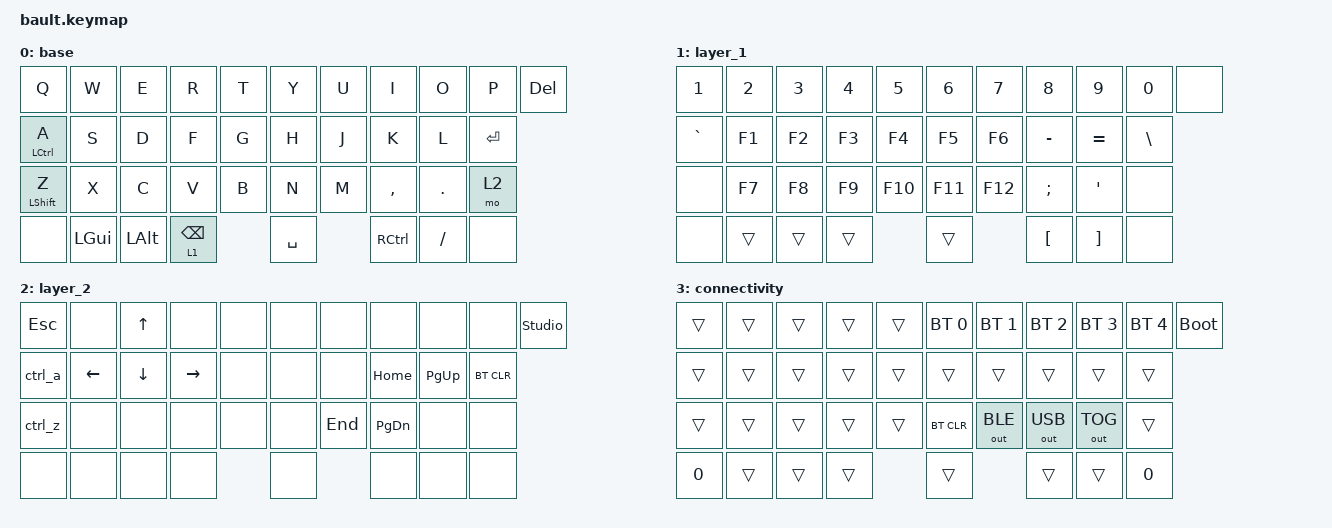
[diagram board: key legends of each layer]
#include <behaviors.dtsi>
#include <dt-bindings/zmk/bt.h>
#include <dt-bindings/zmk/keys.h>
#include <dt-bindings/zmk/outputs.h>

/ {
    behaviors {
        hm: homerow_mods {
            compatible = "zmk,behavior-hold-tap";
            display-name = "Homerow Mods";
            bindings = <&kp>, <&kp>;

            #binding-cells = <2>;
            tapping-term-ms = <200>;
            quick-tap-ms = <180>;
            require-prior-idle-ms = <0>;
            flavor = "tap-preferred";
        };
    };

    combos {
        compatible = "zmk,combos";

        combo_tab {
            timeout-ms = <50>;
            key-positions = <0 1>;
            bindings = <&kp TAB>;
        };
    };

    macros {
        ctrl_a: Ctrl_A {
            compatible = "zmk,behavior-macro";
            #binding-cells = <0>;
            bindings =
                <&macro_press>,
                <&kp RCTRL>,
                <&macro_tap>,
                <&kp A>,
                <&macro_release>,
                <&kp RIGHT_CONTROL>;

            label = "CTRL_A";
        };

        ctrl_z: ctrl_z {
            compatible = "zmk,behavior-macro";
            #binding-cells = <0>;
            bindings =
                <&macro_press>,
                <&kp RIGHT_SHIFT>,
                <&macro_tap>,
                <&kp Z>,
                <&macro_release>,
                <&kp RIGHT_SHIFT>;

            label = "CTRL_Z";
        };
    };

    keymap {
        compatible = "zmk,keymap";

        base {
            bindings = <
&kp Q               &kp W         &kp E         &kp R            &kp T  &kp Y      &kp U  &kp I      &kp O       &kp P      &kp DEL
&hm LEFT_CONTROL A  &kp S         &kp D         &kp F            &kp G  &kp H      &kp J  &kp K      &kp L       &kp ENTER
&hm LEFT_SHIFT Z    &kp X         &kp C         &kp V            &kp B  &kp N      &kp M  &kp COMMA  &kp PERIOD  &mo 2
&none               &kp LEFT_GUI  &kp LEFT_ALT  &lt 1 BACKSPACE         &kp SPACE         &kp RCTRL  &kp SLASH   &none
            >;
        };

        layer_1 {
            bindings = <
&kp N1     &kp N2  &kp N3  &kp N4  &kp N5   &kp N6   &kp N7   &kp N8            &kp N9             &kp N0    &none
&kp GRAVE  &kp F1  &kp F2  &kp F3  &kp F4   &kp F5   &kp F6   &kp MINUS         &kp EQUAL          &kp BSLH
&none      &kp F7  &kp F8  &kp F9  &kp F10  &kp F11  &kp F12  &kp SEMICOLON     &kp SQT            &none
&none      &trans  &trans  &trans           &trans            &kp LEFT_BRACKET  &kp RIGHT_BRACKET  &none
            >;
        };

        layer_2 {
            bindings = <
&kp ESCAPE  &none     &kp UP    &none      &none  &none  &none    &none          &none        &none       &studio_unlock
&ctrl_a     &kp LEFT  &kp DOWN  &kp RIGHT  &none  &none  &none    &kp HOME       &kp PAGE_UP  &bt BT_CLR
&ctrl_z     &none     &none     &none      &none  &none  &kp END  &kp PAGE_DOWN  &none        &none
&none       &none     &none     &none             &none           &none          &none        &none
            >;
        };

        connectivity {
            bindings = <
&trans  &trans  &trans  &trans  &trans  &bt BT_SEL 0  &bt BT_SEL 1  &bt BT_SEL 2  &bt BT_SEL 3  &bt BT_SEL 4  &bootloader
&trans  &trans  &trans  &trans  &trans  &trans        &trans        &trans        &trans        &trans
&trans  &trans  &trans  &trans  &trans  &bt BT_CLR    &out OUT_BLE  &out OUT_USB  &out OUT_TOG  &trans
&kp N0  &trans  &trans  &trans          &trans                      &trans        &trans        &kp N0
            >;
        };
    };
};
